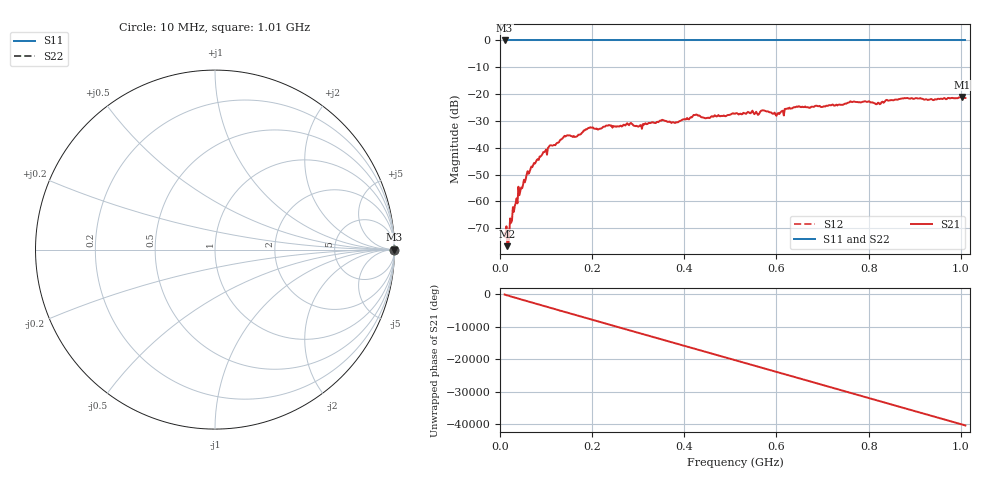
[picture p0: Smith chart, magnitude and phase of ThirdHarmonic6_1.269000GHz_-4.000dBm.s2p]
! 8/16/2025 1:42:29 PM
! C:\ANRITSUVNA\TEMP\TEMP.S2P
! CHANNEL.1
! TR.MEASUREMENT
! RAW.DATA
! RF.CORRECTION.OFF
! AVERAGING.OFF
! IF.BANDWIDTH: 5KHZ
! SWEEPTYPE:  FREQ.SWEEP(Linear)
! Reference Plane Port Info
! PORT:  PORT1  PORT2
! DISTANCE:  0  m  0  m
! TIME:  0  s  0  s
! PHASE.OFFSET:  0  deg.  0  deg.
! LOSS:  0  dB  0  dB
! REF.LOSS:  0  dB  0  dB
! REF.FREQ:  0  Hz  0  Hz
! Power Info
! POWER:  -20  dBm  -20  dBm
! EFF.POWER:  -20  dBm  -20  dBm
! SOURCE.ATTEN:  0  dB  0  dB
! TEST.ATTEN:  0  dB  0  dB
# GHZ S RI R 50.0
! FREQ.GHZ  S11RE  S11IM  S21RE  S21IM  S12RE  S12IM  S22RE  S22IM
!; PortSelection: Port_12
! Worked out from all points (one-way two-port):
!   501 points, 10 MHz to 1.01 GHz, reference 50 ohm
!   highest |S21| = -21.03 dB at 1.002 GHz (marker M1); lowest = -76.7 dB at 16 MHz (marker M2)
!   lowest |S11| = 0.0 dB at 10 MHz (marker M3)
!   |S11| at or under -10 dB: nowhere
!   |S22| runs from 0.0 to 0.0 dB; largest |S21 - S12| = 1.1
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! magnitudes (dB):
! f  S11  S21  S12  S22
! 10 MHz  0.0  -71.9  0.0  0.0
! 16 MHz  0.0  -76.7  0.0  0.0
! 20 MHz  0.0  -72.5  0.0  0.0
! 26 MHz  0.0  -67.1  0.0  0.0
! 36 MHz  0.0  -58.9  0.0  0.0
! 70 MHz  0.0  -47.3  0.0  0.0
! 108 MHz  0.0  -39.2  0.0  0.0
! 142 MHz  0.0  -35.8  0.0  0.0
! 178 MHz  0.0  -34.4  0.0  0.0
! 196 MHz  0.0  -32.4  0.0  0.0
! 304 MHz  0.0  -31.6  0.0  0.0
! 344 MHz  0.0  -30.4  0.0  0.0
! 382 MHz  0.0  -30.5  0.0  0.0
! 424 MHz  0.0  -27.8  0.0  0.0
! 510 MHz  0.0  -27.3  0.0  0.0
! 572 MHz  0.0  -26.1  0.0  0.0
! 602 MHz  0.0  -27.2  0.0  0.0
! 624 MHz  0.0  -25.3  0.0  0.0
! 678 MHz  0.0  -24.7  0.0  0.0
! 844 MHz  0.0  -22.4  0.0  0.0
! 1.002 GHz  0.0  -21.0  0.0  0.0
! 1.01 GHz  0.0  -21.4  0.0  0.0
